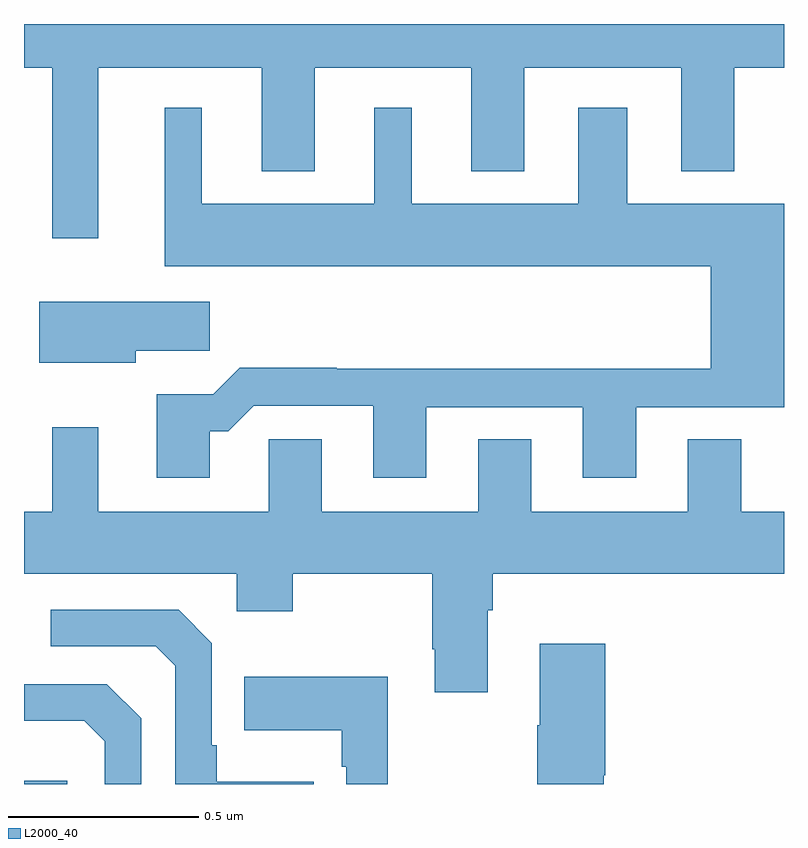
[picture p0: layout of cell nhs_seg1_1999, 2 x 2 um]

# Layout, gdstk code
import gdstk
lib = gdstk.Library(unit=1e-6, precision=1e-09)
def R(c, l, rs):  # rectangles x0, y0, x1, y1
    for r in rs: c.add(gdstk.rectangle(r[:2], r[2:], *l))
def P(c, l, *ps):  # polygons
    for p in ps: c.add(gdstk.Polygon(p, *l))
L2000_40 = (2000, 40)

nhs_seg1_1999 = lib.new_cell('nhs_seg1_1999')
R(nhs_seg1_1999, L2000_40, [(136,531.199,136.114,531.208)])
P(nhs_seg1_1999, L2000_40, [(136.195,533.084),(136.625,533.084),(136.625,532.811),(136.765,532.811),(136.765,533.084),(137.177,533.084),(137.177,532.811),(137.317,532.811),(137.317,533.084),(137.729,533.084),(137.729,532.811),(137.869,532.811),(137.869,533.084),(138,533.084),(138,533.199),(136,533.199),(136,533.084),(136.074,533.084),(136.074,532.635),(136.195,532.635)],
  [(136.489,532.127),(136.538,532.127),(136.605,532.194),(136.919,532.194),(136.919,532.005),(137.059,532.005),(137.059,532.191),(137.471,532.191),(137.471,532.005),(137.611,532.005),(137.611,532.191),(138,532.191),(138,532.726),(137.587,532.726),(137.587,532.978),(137.459,532.978),(137.459,532.726),(137.02,532.726),(137.02,532.978),(136.922,532.978),(136.922,532.726),(136.468,532.726),(136.468,532.978),(136.37,532.978),(136.37,532.562),(137.807,532.562),(137.807,532.292),(136.823,532.292),(136.823,532.295),(136.568,532.295),(136.498,532.225),(136.349,532.225),(136.349,532.005),(136.489,532.005)],
  [(136.294,532.339),(136.489,532.339),(136.489,532.468),(136.04,532.468),(136.04,532.307),(136.294,532.307)],
  [(137.221,531.656),(137.234,531.656),(137.234,531.752),(138,531.752),(138,531.916),(137.887,531.916),(137.887,532.106),(137.747,532.106),(137.747,531.916),(137.335,531.916),(137.335,532.106),(137.195,532.106),(137.195,531.916),(136.783,531.916),(136.783,532.106),(136.644,532.106),(136.644,531.916),(136.195,531.916),(136.195,532.138),(136.074,532.138),(136.074,531.916),(136,531.916),(136,531.752),(136.56,531.752),(136.56,531.653),(136.707,531.653),(136.707,531.752),(137.074,531.752),(137.074,531.553),(137.081,531.553),(137.081,531.441),(137.221,531.441)],
  [(136.763,531.205),(136.507,531.205),(136.507,531.301),(136.494,531.301),(136.494,531.57),(136.407,531.657),(136.071,531.657),(136.071,531.561),(136.347,531.561),(136.398,531.51),(136.398,531.199),(136.763,531.199)],
  [(137.525,531.222),(137.53,531.222),(137.53,531.568),(137.357,531.568),(137.357,531.353),(137.35,531.353),(137.35,531.199),(137.525,531.199)],
  [(136.957,531.481),(136.579,531.481),(136.579,531.341),(136.836,531.341),(136.836,531.245),(136.848,531.245),(136.848,531.199),(136.957,531.199)],
  [(136.308,531.372),(136.218,531.462),(136,531.462),(136,531.365),(136.159,531.365),(136.212,531.312),(136.212,531.199),(136.308,531.199)])

lib.write_gds('nhs_seg1_1999.gds')
